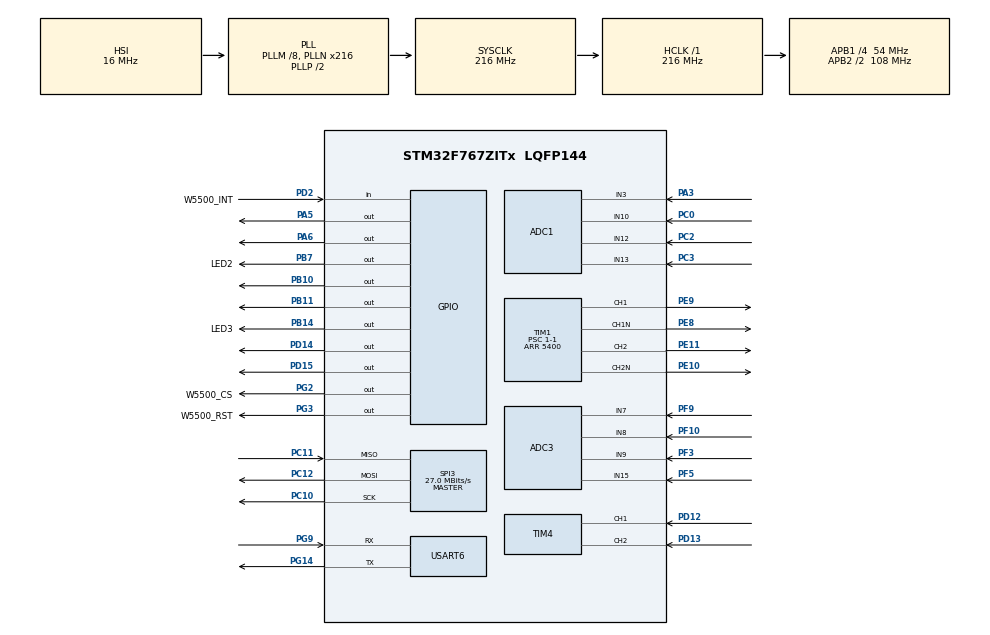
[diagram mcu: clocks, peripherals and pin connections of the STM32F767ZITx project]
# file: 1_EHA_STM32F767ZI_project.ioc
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ADC1.Channel-2\#ChannelRegularConversion=ADC_CHANNEL_3
ADC1.Channel-3\#ChannelRegularConversion=ADC_CHANNEL_10
ADC1.Channel-4\#ChannelRegularConversion=ADC_CHANNEL_13
ADC1.Channel-5\#ChannelRegularConversion=ADC_CHANNEL_12
ADC1.ContinuousConvMode=DISABLE
ADC1.DMAContinuousRequests=ENABLE
ADC1.ExternalTrigConv=ADC_EXTERNALTRIGCONV_T2_TRGO
ADC1.NbrOfConversion=4
ADC1.NbrOfConversionFlag=1
ADC1.Rank-2\#ChannelRegularConversion=1
ADC1.Rank-3\#ChannelRegularConversion=2
ADC1.Rank-4\#ChannelRegularConversion=3
ADC1.Rank-5\#ChannelRegularConversion=4
ADC1.SamplingTime-2\#ChannelRegularConversion=ADC_SAMPLETIME_28CYCLES
ADC1.SamplingTime-3\#ChannelRegularConversion=ADC_SAMPLETIME_28CYCLES
ADC1.SamplingTime-4\#ChannelRegularConversion=ADC_SAMPLETIME_28CYCLES
ADC1.SamplingTime-5\#ChannelRegularConversion=ADC_SAMPLETIME_28CYCLES
ADC1.ScanConvMode=ADC_SCAN_ENABLE
ADC1.master=1
ADC3.Channel-12\#ChannelRegularConversion=ADC_CHANNEL_9
ADC3.Channel-13\#ChannelRegularConversion=ADC_CHANNEL_15
ADC3.Channel-14\#ChannelRegularConversion=ADC_CHANNEL_8
ADC3.Channel-15\#ChannelRegularConversion=ADC_CHANNEL_7
ADC3.DMAContinuousRequests=ENABLE
ADC3.ExternalTrigConv=ADC_EXTERNALTRIGCONV_T6_TRGO
ADC3.NbrOfConversion=4
ADC3.NbrOfConversionFlag=1
ADC3.Rank-12\#ChannelRegularConversion=1
ADC3.Rank-13\#ChannelRegularConversion=2
ADC3.Rank-14\#ChannelRegularConversion=3
ADC3.Rank-15\#ChannelRegularConversion=4
ADC3.SamplingTime-12\#ChannelRegularConversion=ADC_SAMPLETIME_28CYCLES
ADC3.SamplingTime-13\#ChannelRegularConversion=ADC_SAMPLETIME_28CYCLES
ADC3.SamplingTime-14\#ChannelRegularConversion=ADC_SAMPLETIME_28CYCLES
ADC3.SamplingTime-15\#ChannelRegularConversion=ADC_SAMPLETIME_28CYCLES
ADC3.ScanConvMode=ADC_SCAN_ENABLE
Dma.ADC1.0.Direction=DMA_PERIPH_TO_MEMORY
Dma.ADC1.0.FIFOMode=DMA_FIFOMODE_DISABLE
Dma.ADC1.0.Instance=DMA2_Stream0
Dma.ADC1.0.MemDataAlignment=DMA_MDATAALIGN_HALFWORD
Dma.ADC1.0.MemInc=DMA_MINC_ENABLE
Dma.ADC1.0.Mode=DMA_CIRCULAR
Dma.ADC1.0.PeriphDataAlignment=DMA_PDATAALIGN_HALFWORD
Dma.ADC1.0.PeriphInc=DMA_PINC_DISABLE
Dma.ADC1.0.Priority=DMA_PRIORITY_LOW
Dma.ADC3.1.Direction=DMA_PERIPH_TO_MEMORY
Dma.ADC3.1.FIFOMode=DMA_FIFOMODE_DISABLE
Dma.ADC3.1.Instance=DMA2_Stream1
Dma.ADC3.1.MemDataAlignment=DMA_MDATAALIGN_HALFWORD
Dma.ADC3.1.MemInc=DMA_MINC_ENABLE
Dma.ADC3.1.Mode=DMA_CIRCULAR
Dma.ADC3.1.PeriphDataAlignment=DMA_PDATAALIGN_HALFWORD
Dma.ADC3.1.PeriphInc=DMA_PINC_DISABLE
Dma.ADC3.1.Priority=DMA_PRIORITY_LOW
Dma.Request0=ADC1
Dma.Request1=ADC3
Dma.Request2=USART6_RX
Dma.Request3=USART6_TX
Dma.USART6_RX.2.Direction=DMA_PERIPH_TO_MEMORY
Dma.USART6_RX.2.FIFOMode=DMA_FIFOMODE_DISABLE
Dma.USART6_RX.2.Instance=DMA2_Stream2
Dma.USART6_RX.2.MemDataAlignment=DMA_MDATAALIGN_BYTE
Dma.USART6_RX.2.MemInc=DMA_MINC_ENABLE
Dma.USART6_RX.2.Mode=DMA_NORMAL
Dma.USART6_RX.2.PeriphDataAlignment=DMA_PDATAALIGN_BYTE
Dma.USART6_RX.2.PeriphInc=DMA_PINC_DISABLE
Dma.USART6_RX.2.Priority=DMA_PRIORITY_LOW
Dma.USART6_TX.3.Direction=DMA_MEMORY_TO_PERIPH
Dma.USART6_TX.3.FIFOMode=DMA_FIFOMODE_DISABLE
Dma.USART6_TX.3.Instance=DMA2_Stream6
Dma.USART6_TX.3.MemDataAlignment=DMA_MDATAALIGN_BYTE
Dma.USART6_TX.3.MemInc=DMA_MINC_ENABLE
Dma.USART6_TX.3.Mode=DMA_NORMAL
Dma.USART6_TX.3.PeriphDataAlignment=DMA_PDATAALIGN_BYTE
Dma.USART6_TX.3.PeriphInc=DMA_PINC_DISABLE
Dma.USART6_TX.3.Priority=DMA_PRIORITY_LOW
Mcu.Family=STM32F7
Mcu.Name=STM32F767ZITx
Mcu.Package=LQFP144
NVIC.ADC_IRQn=true\:0\:0\:false\:false\:true\:true\:true
NVIC.DMA2_Stream0_IRQn=true\:0\:0\:false\:false\:true\:false\:true
NVIC.DMA2_Stream1_IRQn=true\:0\:0\:false\:false\:true\:false\:true
NVIC.DMA2_Stream2_IRQn=true\:0\:0\:false\:false\:true\:false\:true
NVIC.DMA2_Stream6_IRQn=true\:0\:0\:false\:false\:true\:false\:true
NVIC.PriorityGroup=NVIC_PRIORITYGROUP_4
NVIC.TIM1_BRK_TIM9_IRQn=true\:0\:0\:false\:false\:true\:true\:true
NVIC.TIM1_UP_TIM10_IRQn=true\:0\:0\:false\:false\:true\:true\:true
NVIC.TIM2_IRQn=true\:0\:0\:false\:false\:true\:true\:true
NVIC.TIM4_IRQn=true\:0\:0\:false\:false\:true\:true\:true
NVIC.TIM5_IRQn=true\:0\:0\:false\:false\:true\:true\:true
NVIC.TIM7_IRQn=true\:0\:0\:false\:false\:true\:true\:true
NVIC.USART6_IRQn=true\:0\:0\:false\:false\:true\:true\:true
PA13.Mode=Serial_Wire
PA13.Signal=SYS_JTMS-SWDIO
PA14.Mode=Serial_Wire
PA14.Signal=SYS_JTCK-SWCLK
PA3.Signal=ADCx_IN3
PA5.Signal=GPIO_Output
PA6.Signal=GPIO_Output
PB10.Signal=GPIO_Output
PB11.Signal=GPIO_Output
PB14.GPIO_Label=LED3
PB14.Signal=GPIO_Output
PB7.GPIO_Label=LED2
PB7.Signal=GPIO_Output
PC0.Signal=ADCx_IN10
PC10.Mode=Full_Duplex_Master
PC10.Signal=SPI3_SCK
PC11.Mode=Full_Duplex_Master
PC11.Signal=SPI3_MISO
PC12.Mode=Full_Duplex_Master
PC12.Signal=SPI3_MOSI
PC14/OSC32_IN.Mode=LSE-External-Oscillator
PC14/OSC32_IN.Signal=RCC_OSC32_IN
PC15/OSC32_OUT.Mode=LSE-External-Oscillator
PC15/OSC32_OUT.Signal=RCC_OSC32_OUT
PC2.Signal=ADCx_IN12
PC3.Signal=ADCx_IN13
PD12.GPIO_PuPd=GPIO_PULLUP
PD12.Signal=S_TIM4_CH1
PD13.GPIO_PuPd=GPIO_PULLUP
PD13.Signal=S_TIM4_CH2
PD14.Signal=GPIO_Output
PD15.Signal=GPIO_Output
PD2.GPIO_Label=W5500_INT
PD2.GPIO_PuPd=GPIO_PULLUP
PD2.Signal=GPIO_Input
PE10.Mode=PWM Generation2 CH2 CH2N
PE10.Signal=TIM1_CH2N
PE11.Signal=S_TIM1_CH2
PE8.Mode=PWM Generation1 CH1 CH1N
PE8.Signal=TIM1_CH1N
PE9.Signal=S_TIM1_CH1
PF10.Mode=IN8
PF10.Signal=ADC3_IN8
PF3.Mode=IN9
PF3.Signal=ADC3_IN9
PF5.Mode=IN15
PF5.Signal=ADC3_IN15
PF9.Mode=IN7
PF9.Signal=ADC3_IN7
PG14.Mode=Asynchronous
PG14.Signal=USART6_TX
PG2.GPIO_Label=W5500_CS
PG2.GPIO_PuPd=GPIO_PULLDOWN
PG2.Signal=GPIO_Output
PG3.GPIO_Label=W5500_RST
PG3.GPIO_PuPd=GPIO_PULLUP
PG3.Signal=GPIO_Output
PG9.Mode=Asynchronous
PG9.Signal=USART6_RX
ProjectManager.HeapSize=0x200
ProjectManager.StackSize=0x400
ProjectManager.TargetToolchain=SW4STM32
RCC.AHBFreq_Value=216000000
RCC.APB1CLKDivider=RCC_HCLK_DIV4
RCC.APB1Freq_Value=54000000
RCC.APB1TimFreq_Value=108000000
RCC.APB2CLKDivider=RCC_HCLK_DIV2
RCC.APB2Freq_Value=108000000
RCC.APB2TimFreq_Value=216000000
RCC.CortexFreq_Value=216000000
RCC.HCLKFreq_Value=216000000
RCC.HSE_VALUE=25000000
RCC.HSI_VALUE=16000000
RCC.PLLM=8
RCC.PLLN=216
RCC.SYSCLKFreq_VALUE=216000000
RCC.SYSCLKSource=RCC_SYSCLKSOURCE_PLLCLK
RCC.USBFreq_Value=216000000
RCC.VCOOutputFreq_Value=432000000
SH.ADCx_IN10.0=ADC1_IN10,IN10
SH.ADCx_IN12.0=ADC1_IN12,IN12
SH.ADCx_IN13.0=ADC1_IN13,IN13
SH.ADCx_IN3.0=ADC1_IN3,IN3
SH.S_TIM1_CH1.0=TIM1_CH1,PWM Generation1 CH1 CH1N
SH.S_TIM1_CH2.0=TIM1_CH2,PWM Generation2 CH2 CH2N
SH.S_TIM4_CH1.0=TIM4_CH1,Encoder_Interface
SH.S_TIM4_CH2.0=TIM4_CH2,Encoder_Interface
SPI3.BaudRatePrescaler=SPI_BAUDRATEPRESCALER_2
SPI3.CalculateBaudRate=27.0 MBits/s
SPI3.DataSize=SPI_DATASIZE_8BIT
SPI3.Direction=SPI_DIRECTION_2LINES
SPI3.Mode=SPI_MODE_MASTER
SPI3.VirtualType=VM_MASTER
TIM1.AutoReloadPreload=TIM_AUTORELOAD_PRELOAD_ENABLE
TIM1.Channel-PWM\ Generation1\ CH1\ CH1N=TIM_CHANNEL_1
TIM1.Channel-PWM\ Generation2\ CH2\ CH2N=TIM_CHANNEL_2
TIM1.CounterMode=TIM_COUNTERMODE_CENTERALIGNED1
TIM1.DeadTime=87
TIM1.Period=5400
TIM1.Prescaler=1-1
TIM10.AutoReloadPreload=TIM_AUTORELOAD_PRELOAD_ENABLE
TIM2.AutoReloadPreload=TIM_AUTORELOAD_PRELOAD_ENABLE
TIM2.Period=1000-1
TIM2.Prescaler=216-1
TIM2.TIM_MasterOutputTrigger=TIM_TRGO_UPDATE
TIM4.EncoderMode=TIM_ENCODERMODE_TI12
TIM5.AutoReloadPreload=TIM_AUTORELOAD_PRELOAD_ENABLE
TIM5.Period=1000-1
TIM5.Prescaler=54-1
TIM6.AutoReloadPreload=TIM_AUTORELOAD_PRELOAD_ENABLE
TIM6.Period=1000-1
TIM6.Prescaler=108-1
TIM6.TIM_MasterOutputTrigger=TIM_TRGO_UPDATE
TIM7.AutoReloadPreload=TIM_AUTORELOAD_PRELOAD_ENABLE
TIM7.Period=1000-1
TIM7.Prescaler=108-1
TIM9.Period=5000
TIM9.Prescaler=5400-1
USART6.VirtualMode-Asynchronous=VM_ASYNC
VP_TIM10_VS_ClockSourceINT.Mode=Enable_Timer
VP_TIM1_VS_ClockSourceINT.Mode=Internal
VP_TIM2_VS_ClockSourceINT.Mode=Internal
VP_TIM5_VS_ClockSourceINT.Mode=Internal
VP_TIM6_VS_ClockSourceINT.Mode=Enable_Timer
VP_TIM7_VS_ClockSourceINT.Mode=Enable_Timer
VP_TIM9_VS_ClockSourceINT.Mode=Internal
board=custom

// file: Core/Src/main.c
/* USER CODE BEGIN Header */
/**
  ******************************************************************************
  * @file           : main.c
  * @brief          : Main program body
  ******************************************************************************
  * @attention
  *
  * <h2><center>&copy; Copyright (c) 2024 STMicroelectronics.
  * All rights reserved.</center></h2>
  *
  * This software component is licensed by ST under BSD 3-Clause license,
  * the "License"; You may not use this file except in compliance with the
  * License. You may obtain a copy of the License at:
  *                        opensource.org/licenses/BSD-3-Clause
  *
  ******************************************************************************
  */
/* USER CODE END Header */
#include "main.h"
#include "adc.h"
#include "dma.h"
#include "spi.h"
#include "tim.h"
#include "usart.h"
#include "gpio.h"

/* USER CODE BEGIN PV */

extern uint16_t usRegHoldingBuf[];

/* USER CODE END PV */

void SystemClock_Config(void);

/* USER CODE BEGIN 0 */

//uint16_t count_tim = 0, count_tim_last = 0;
//int32_t CYLINDER_GET_Pos (void){
//	uint16_t count_tim = TIM4->CNT; //
//	return count_tim;
//}

/*--------------------------ADC--------------------------*/
void HAL_ADC_ConvCpltCallback(ADC_HandleTypeDef* hadc)
{
	ModBus_ADC_Callback();
}
/*--------------------------ADC--------------------------*/

int16_t reg_to_int16(uint16_t reg_1){
	int16_t f = reg_1;
	return f;
}

void HAL_TIM_PeriodElapsedCallback(TIM_HandleTypeDef *htim)
{
	if(htim->Instance == TIM7)
    {
		EHA_Control_System();
    }

//	if(htim->Instance == TIM7)
//    {
//		HAL_GPIO_TogglePin(LED3_GPIO_Port,LED3_Pin);
//    }

}

/* USER CODE END 0 */

int main(void)
{

  /* MCU Configuration--------------------------------------------------------*/

  /* Reset of all peripherals, Initializes the Flash interface and the Systick. */
  HAL_Init();

  /* Configure the system clock */
  SystemClock_Config();

  /* Initialize all configured peripherals */
  MX_GPIO_Init();
  MX_DMA_Init();
  MX_SPI3_Init();
  MX_TIM1_Init();
  MX_TIM4_Init();
  MX_TIM2_Init();
  MX_ADC1_Init();
  MX_ADC3_Init();
  MX_TIM6_Init();
  MX_TIM7_Init();
  MX_TIM9_Init();
  MX_TIM10_Init();
  MX_TIM5_Init();
  MX_USART6_UART_Init();
  /* USER CODE BEGIN 2 */

  Relay_init();

  __HAL_UART_ENABLE_IT(&huart6, UART_IT_RXNE); // включить прерывания usart'a

  HAL_TIM_Encoder_Start(&htim4, TIM_CHANNEL_ALL);

  HAL_TIM_PWM_Start(&htim1, TIM_CHANNEL_1);
  HAL_TIMEx_PWMN_Start(&htim1, TIM_CHANNEL_1);

  HAL_TIM_PWM_Start(&htim1, TIM_CHANNEL_2);
  HAL_TIMEx_PWMN_Start(&htim1, TIM_CHANNEL_2);

//  HAL_TIM_Base_Start_IT(&htim9);

  TimerDelay_Init();

  /*--------------------------ADC--------------------------*/
  ModBus_ADC_init();
  /*--------------------------ADC--------------------------*/

  w5500_init();
  HAL_Delay(200);
  eMBTCPInit(MBTCP_PORT);
  HAL_Delay(200);
  eMBEnable();
  modbus_tcps(HTTP_SOCKET, MBTCP_PORT);

  AS5600_init();
//  HAL_TIM_Base_Start_IT(&htim5);
  HAL_TIM_Base_Start_IT(&htim7);
//  HAL_TIM_Base_Start(&htim7);

  uint32_t time_ = HAL_GetTick();
//  int setup_pwm = 0;
  uint16_t time_test = 0;

  /* USER CODE END 2 */

  /* Infinite loop */
  /* USER CODE BEGIN WHILE */
  while (1)
  {
#if (System_Mode == 'A')
	  Relay_Callback();
#elif (System_Mode == 'B')
	  Relay_Callback();
#endif
//	  Delay_us(10);
//	  HAL_GPIO_TogglePin(LED3_GPIO_Port,LED3_Pin);

	  modbus_tcps(HTTP_SOCKET, MBTCP_PORT);

	  MyData.data_1 = CYLINDER_GET_Pos();

	  if(HAL_GetTick() - time_ > 1000){
		  time_test++;
		  usRegHoldingBuf[0] = time_test;
//		  HAL_GPIO_TogglePin(LED2_GPIO_Port,LED2_Pin);
		  time_ = HAL_GetTick();
	  }

    /* USER CODE END WHILE */

  }
}

void SystemClock_Config(void)
{
  RCC_OscInitTypeDef RCC_OscInitStruct = {0};
  RCC_ClkInitTypeDef RCC_ClkInitStruct = {0};
  RCC_PeriphCLKInitTypeDef PeriphClkInitStruct = {0};

  /** Configure LSE Drive Capability
  */
  HAL_PWR_EnableBkUpAccess();
  /** Configure the main internal regulator output voltage
  */
  __HAL_RCC_PWR_CLK_ENABLE();
  __HAL_PWR_VOLTAGESCALING_CONFIG(PWR_REGULATOR_VOLTAGE_SCALE1);
  /** Initializes the RCC Oscillators according to the specified parameters
  * in the RCC_OscInitTypeDef structure.
  */
  RCC_OscInitStruct.OscillatorType = RCC_OSCILLATORTYPE_HSI;
  RCC_OscInitStruct.HSIState = RCC_HSI_ON;
  RCC_OscInitStruct.HSICalibrationValue = RCC_HSICALIBRATION_DEFAULT;
  RCC_OscInitStruct.PLL.PLLState = RCC_PLL_ON;
  RCC_OscInitStruct.PLL.PLLSource = RCC_PLLSOURCE_HSI;
  RCC_OscInitStruct.PLL.PLLM = 8;
  RCC_OscInitStruct.PLL.PLLN = 216;
  RCC_OscInitStruct.PLL.PLLP = RCC_PLLP_DIV2;
  RCC_OscInitStruct.PLL.PLLQ = 2;
  if (HAL_RCC_OscConfig(&RCC_OscInitStruct) != HAL_OK)
  {
    Error_Handler();
  }
  /** Activate the Over-Drive mode
  */
  if (HAL_PWREx_EnableOverDrive() != HAL_OK)
  {
    Error_Handler();
  }
  /** Initializes the CPU, AHB and APB buses clocks
  */
  RCC_ClkInitStruct.ClockType = RCC_CLOCKTYPE_HCLK|RCC_CLOCKTYPE_SYSCLK
                              |RCC_CLOCKTYPE_PCLK1|RCC_CLOCKTYPE_PCLK2;
  RCC_ClkInitStruct.SYSCLKSource = RCC_SYSCLKSOURCE_PLLCLK;
  RCC_ClkInitStruct.AHBCLKDivider = RCC_SYSCLK_DIV1;
  RCC_ClkInitStruct.APB1CLKDivider = RCC_HCLK_DIV4;
  RCC_ClkInitStruct.APB2CLKDivider = RCC_HCLK_DIV2;

  if (HAL_RCC_ClockConfig(&RCC_ClkInitStruct, FLASH_LATENCY_7) != HAL_OK)
  {
    Error_Handler();
  }
  PeriphClkInitStruct.PeriphClockSelection = RCC_PERIPHCLK_USART6;
  PeriphClkInitStruct.Usart6ClockSelection = RCC_USART6CLKSOURCE_PCLK2;
  if (HAL_RCCEx_PeriphCLKConfig(&PeriphClkInitStruct) != HAL_OK)
  {
    Error_Handler();
  }
}

void Error_Handler(void)
{
  __disable_irq();
  while (1)
  {
  }
}

/************************ (C) COPYRIGHT STMicroelectronics *****END OF FILE****/
